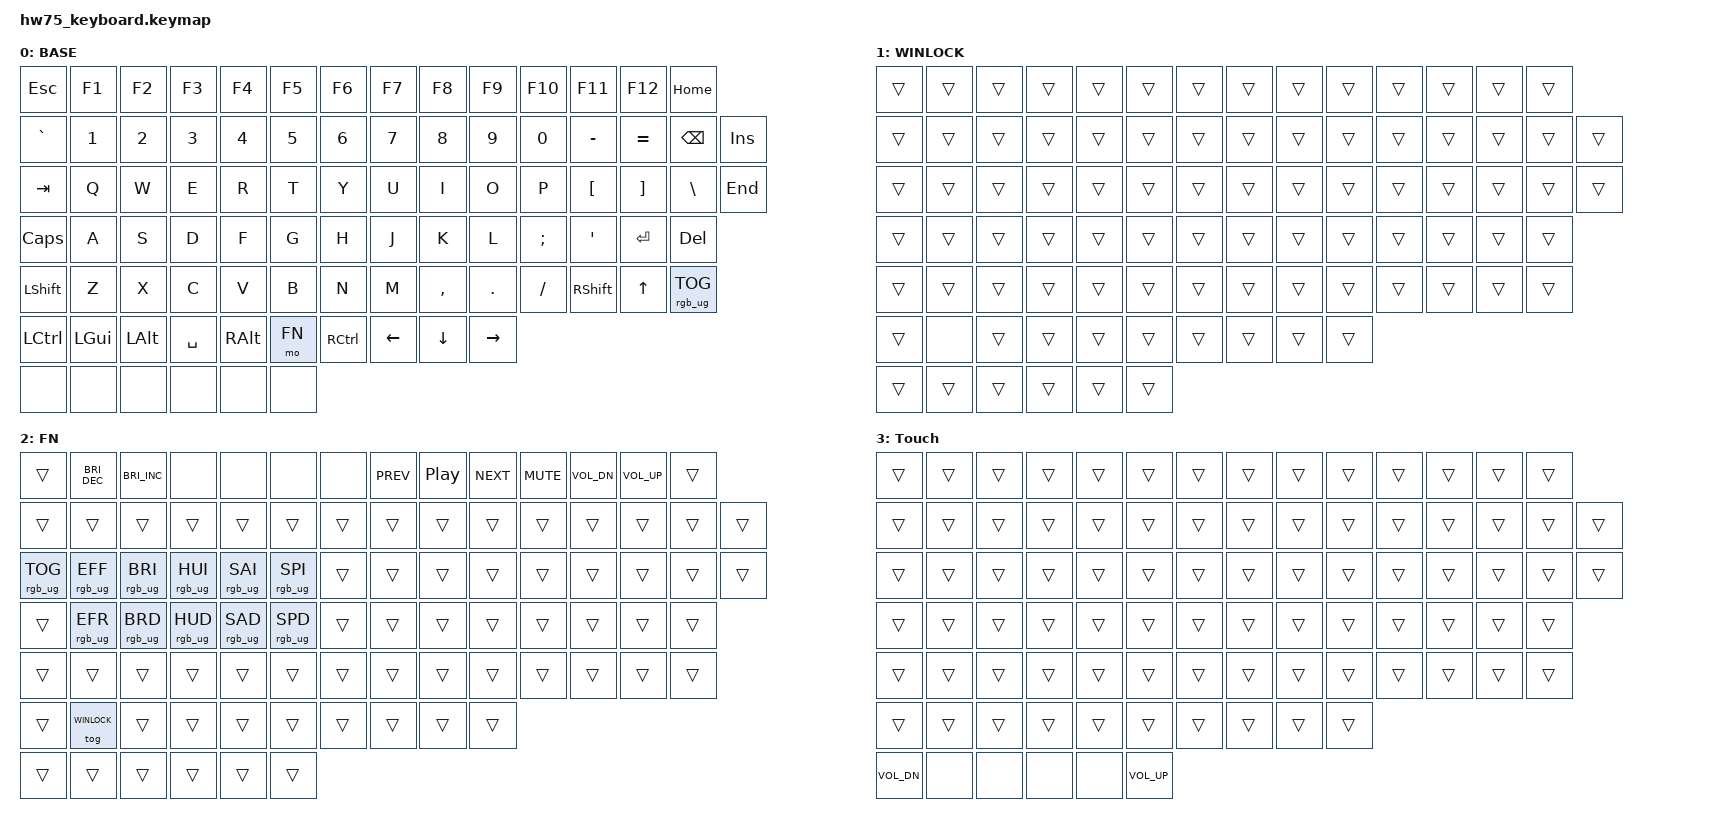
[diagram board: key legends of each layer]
/*
 * Copyright (c) 2022 The ZMK Contributors
 * SPDX-License-Identifier: MIT
 */

#include <behaviors.dtsi>
#include <dt-bindings/zmk/keys.h>
#include <dt-bindings/zmk/rgb.h>

#define BASE 0
#define WINLOCK 1
#define FN 2
#define TOUCH 3

&sl {
    release-after-ms = <500>;
};

/ {
    keymap {
        compatible = "zmk,keymap";

        base {
            label = "BASE";
            bindings = <
                &kp ESC   &kp F1    &kp F2    &kp F3    &kp F4    &kp F5    &kp F6    &kp F7    &kp F8    &kp F9    &kp F10   &kp F11   &kp F12   &kp HOME
                &kp GRAVE &kp N1    &kp N2    &kp N3    &kp N4    &kp N5    &kp N6    &kp N7    &kp N8    &kp N9    &kp N0    &kp MINUS &kp EQUAL &kp BSPC  &kp INS
                &kp TAB   &kp Q     &kp W     &kp E     &kp R     &kp T     &kp Y     &kp U     &kp I     &kp O     &kp P     &kp LBKT  &kp RBKT  &kp BSLH  &kp END
                &kp CAPS  &kp A     &kp S     &kp D     &kp F     &kp G     &kp H     &kp J     &kp K     &kp L     &kp SEMI  &kp SQT   &kp RET   &kp DEL
                &kp LSHFT &kp Z     &kp X     &kp C     &kp V     &kp B     &kp N     &kp M     &kp COMMA &kp DOT   &kp FSLH  &kp RSHFT &kp UP    &rgb_ug RGB_TOG
                &kp LCTRL &kp LGUI  &kp LALT  &kp SPACE &kp RALT  &mo FN    &kp RCTRL &kp LEFT  &kp DOWN  &kp RIGHT

                /* 触控条暂时全部关闭 */
                &none &none &none &none &none &none
            >;
        };

        winlock {
            label = "WINLOCK";
            bindings = <
                &trans &trans &trans &trans &trans &trans &trans &trans &trans &trans &trans &trans &trans &trans
                &trans &trans &trans &trans &trans &trans &trans &trans &trans &trans &trans &trans &trans &trans &trans
                &trans &trans &trans &trans &trans &trans &trans &trans &trans &trans &trans &trans &trans &trans &trans
                &trans &trans &trans &trans &trans &trans &trans &trans &trans &trans &trans &trans &trans &trans
                &trans &trans &trans &trans &trans &trans &trans &trans &trans &trans &trans &trans &trans &trans

                /* 锁 Win：只屏蔽 LGUI 这个位置 */
                &trans &none &trans &trans &trans &trans &trans &trans &trans &trans

                &trans &trans &trans &trans &trans &trans
            >;
        };

        fn {
            label = "FN";
            bindings = <
                &trans          &kp C_BRI_DEC   &kp C_BRI_INC   &none           &none           &none           &none   &kp C_PREV  &kp C_PP  &kp C_NEXT  &kp C_MUTE  &kp C_VOL_DN  &kp C_VOL_UP  &trans
                &trans          &trans          &trans          &trans          &trans          &trans          &trans  &trans      &trans    &trans      &trans      &trans        &trans        &trans        &trans
                &rgb_ug RGB_TOG &rgb_ug RGB_EFF &rgb_ug RGB_BRI &rgb_ug RGB_HUI &rgb_ug RGB_SAI &rgb_ug RGB_SPI &trans  &trans      &trans    &trans      &trans      &trans        &trans        &trans        &trans
                &trans          &rgb_ug RGB_EFR &rgb_ug RGB_BRD &rgb_ug RGB_HUD &rgb_ug RGB_SAD &rgb_ug RGB_SPD &trans  &trans      &trans    &trans      &trans      &trans        &trans        &trans
                &trans          &trans          &trans          &trans          &trans          &trans          &trans  &trans      &trans    &trans      &trans      &trans        &trans        &trans

                /* Fn + Win：切换 Win 锁 */
                &trans          &tog WINLOCK    &trans          &trans          &trans          &trans          &trans  &trans      &trans    &trans

                &trans &trans &trans &trans &trans &trans
            >;
        };

        touch {
            label = "Touch";
            bindings = <
                &trans &trans &trans &trans &trans &trans &trans &trans &trans &trans &trans &trans &trans &trans
                &trans &trans &trans &trans &trans &trans &trans &trans &trans &trans &trans &trans &trans &trans &trans
                &trans &trans &trans &trans &trans &trans &trans &trans &trans &trans &trans &trans &trans &trans &trans
                &trans &trans &trans &trans &trans &trans &trans &trans &trans &trans &trans &trans &trans &trans
                &trans &trans &trans &trans &trans &trans &trans &trans &trans &trans &trans &trans &trans &trans
                &trans &trans &trans &trans &trans &trans &trans &trans &trans &trans
                &kp C_VOL_DN &none &none &none &none &kp C_VOL_UP
            >;
        };
    };
};
